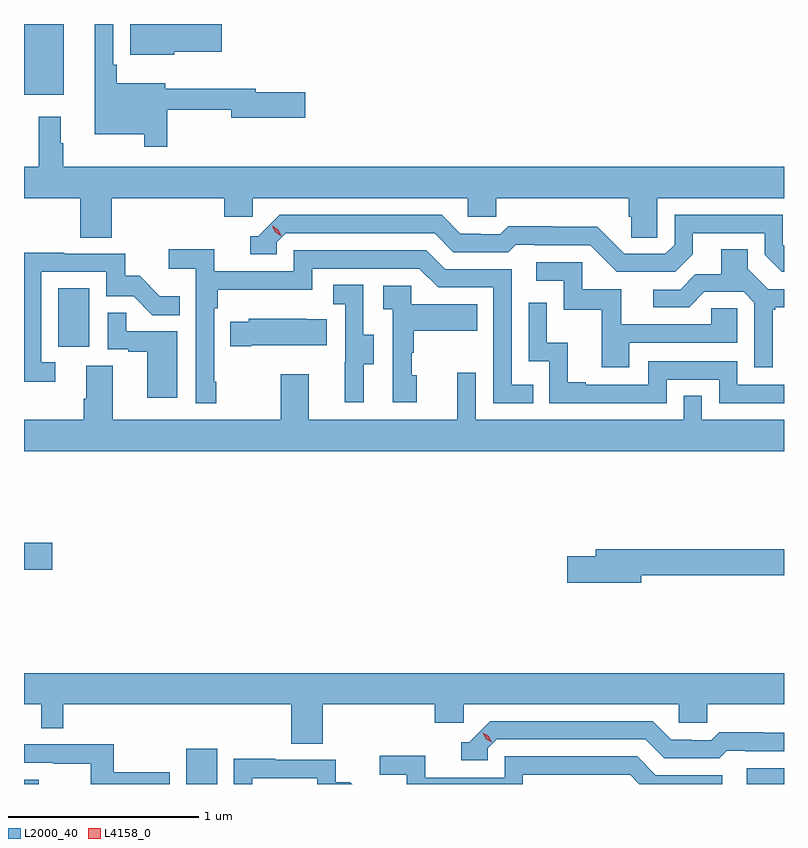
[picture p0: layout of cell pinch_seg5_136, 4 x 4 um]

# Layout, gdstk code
import gdstk
lib = gdstk.Library(unit=1e-6, precision=1e-09)
def R(c, l, rs):  # rectangles x0, y0, x1, y1
    for r in rs: c.add(gdstk.rectangle(r[:2], r[2:], *l))
def P(c, l, *ps):  # polygons
    for p in ps: c.add(gdstk.Polygon(p, *l))
L2000_40 = (2000, 40)
L4158_0 = (4158, 0)

pinch_seg5_136 = lib.new_cell('pinch_seg5_136')
R(pinch_seg5_136, L2000_40, [(1071.344,881.648,1071.422,881.67), (1072.199,881.648,1072.36,881.833), (1075.149,881.648,1075.344,881.73), (1071.344,882.776,1071.493,882.918), (1071.524,883.95,1071.688,884.257), (1071.344,885.275,1071.553,885.648)])
P(pinch_seg5_136, L2000_40, [(1072.134,885.503),(1072.385,885.503),(1072.385,885.648),(1071.902,885.648),(1071.902,885.485),(1072.134,885.485)],
  [(1072.099,885.198),(1072.436,885.198),(1072.436,885.155),(1072.825,885.155),(1072.825,885.29),(1072.564,885.29),(1072.564,885.308),(1072.087,885.308),(1072.087,885.337),(1071.833,885.337),(1071.833,885.433),(1071.813,885.433),(1071.813,885.648),(1071.716,885.648),(1071.716,885.068),(1071.978,885.068),(1071.978,885.003),(1072.099,885.003)],
  [(1071.55,885.02),(1071.538,885.02),(1071.538,885.16),(1071.421,885.16),(1071.421,884.896),(1071.344,884.896),(1071.344,884.732),(1071.641,884.732),(1071.641,884.524),(1071.806,884.524),(1071.806,884.732),(1072.397,884.732),(1072.397,884.634),(1072.548,884.634),(1072.548,884.732),(1073.679,884.732),(1073.679,884.634),(1073.829,884.634),(1073.829,884.732),(1074.527,884.732),(1074.527,884.634),(1074.541,884.634),(1074.541,884.524),(1074.678,884.524),(1074.678,884.732),(1075.344,884.732),(1075.344,884.896),(1071.55,884.896)],
  [(1074.865,884.437),(1074.865,884.547),(1075.242,884.547),(1075.242,884.433),(1075.332,884.343),(1075.344,884.343),(1075.344,884.481),(1075.338,884.487),(1075.338,884.643),(1074.768,884.643),(1074.768,884.487),(1074.72,884.439),(1074.504,884.439),(1074.362,884.581),(1074.126,884.581),(1074.126,884.584),(1073.893,884.584),(1073.851,884.541),(1073.748,884.541),(1073.748,884.544),(1073.641,884.544),(1073.542,884.643),(1072.689,884.643),(1072.578,884.532),(1072.535,884.532),(1072.535,884.436),(1072.674,884.436),(1072.674,884.499),(1072.722,884.547),(1073.505,884.547),(1073.604,884.448),(1073.893,884.448),(1073.932,884.487),(1074.031,884.487),(1074.031,884.484),(1074.324,884.484),(1074.465,884.343),(1074.771,884.343)],
  [(1075.285,884.145),(1075.297,884.145),(1075.297,884.156),(1075.344,884.156),(1075.344,884.253),(1075.26,884.253),(1075.153,884.36),(1075.153,884.462),(1075.013,884.462),(1075.013,884.33),(1074.878,884.33),(1074.798,884.25),(1074.657,884.25),(1074.657,884.157),(1074.844,884.157),(1074.925,884.238),(1075.131,884.238),(1075.188,884.181),(1075.188,883.842),(1075.285,883.842)],
  [(1072.357,883.765),(1072.344,883.765),(1072.344,884.153),(1072.364,884.153),(1072.364,884.249),(1072.86,884.249),(1072.86,884.361),(1073.424,884.361),(1073.523,884.262),(1073.814,884.262),(1073.814,883.653),(1074.023,883.653),(1074.023,883.749),(1073.91,883.749),(1073.91,884.358),(1073.56,884.358),(1073.461,884.457),(1072.764,884.457),(1072.764,884.346),(1072.346,884.346),(1072.346,884.462),(1072.107,884.462),(1072.107,884.36),(1072.248,884.36),(1072.248,883.653),(1072.357,883.653)],
  [(1071.508,883.869),(1071.435,883.869),(1071.435,884.343),(1071.777,884.343),(1071.777,884.214),(1071.921,884.214),(1072.019,884.116),(1072.163,884.116),(1072.163,884.215),(1072.059,884.215),(1071.952,884.322),(1071.876,884.322),(1071.876,884.439),(1071.557,884.439),(1071.557,884.444),(1071.344,884.444),(1071.344,883.764),(1071.508,883.764)],
  [(1074.529,883.971),(1075.098,883.971),(1075.098,884.151),(1074.961,884.151),(1074.961,884.067),(1074.487,884.067),(1074.487,884.253),(1074.282,884.253),(1074.282,884.394),(1074.039,884.394),(1074.039,884.298),(1074.186,884.298),(1074.186,884.145),(1074.385,884.145),(1074.385,883.842),(1074.529,883.842)],
  [(1073.131,883.858),(1073.185,883.858),(1073.185,884.013),(1073.13,884.013),(1073.13,884.276),(1072.971,884.276),(1072.971,884.173),(1073.034,884.173),(1073.034,883.869),(1073.033,883.869),(1073.033,883.656),(1073.131,883.656)],
  [(1073.41,883.8),(1073.385,883.8),(1073.385,883.919),(1073.395,883.919),(1073.395,884.033),(1073.729,884.033),(1073.729,884.173),(1073.382,884.173),(1073.382,884.271),(1073.235,884.271),(1073.235,884.147),(1073.286,884.147),(1073.286,883.656),(1073.41,883.656)],
  [(1074.726,883.776),(1075.002,883.776),(1075.002,883.653),(1075.344,883.653),(1075.344,883.749),(1075.098,883.749),(1075.098,883.872),(1074.63,883.872),(1074.63,883.749),(1074.301,883.749),(1074.301,883.762),(1074.206,883.762),(1074.206,883.97),(1074.096,883.97),(1074.096,884.182),(1074,884.182),(1074,883.872),(1074.108,883.872),(1074.108,883.653),(1074.726,883.653)],
  [(1072.15,884.031),(1071.881,884.031),(1071.881,884.129),(1071.786,884.129),(1071.786,883.935),(1071.893,883.935),(1071.893,883.923),(1071.992,883.923),(1071.992,883.68),(1072.15,883.68)],
  [(1072.54,883.958),(1072.937,883.958),(1072.937,884.095),(1072.829,884.095),(1072.829,884.098),(1072.527,884.098),(1072.527,884.08),(1072.429,884.08),(1072.429,883.951),(1072.54,883.951)],
  [(1075.344,883.564),(1074.912,883.564),(1074.912,883.691),(1074.816,883.691),(1074.816,883.564),(1073.721,883.564),(1073.721,883.813),(1073.624,883.813),(1073.624,883.564),(1072.843,883.564),(1072.843,883.804),(1072.696,883.804),(1072.696,883.564),(1071.811,883.564),(1071.811,883.85),(1071.671,883.85),(1071.671,883.676),(1071.659,883.676),(1071.659,883.564),(1071.344,883.564),(1071.344,883.4),(1075.344,883.4)],
  [(1074.592,882.748),(1075.344,882.748),(1075.344,882.884),(1074.353,882.884),(1074.353,882.848),(1074.204,882.848),(1074.204,882.706),(1074.592,882.706)],
  [(1072.916,882.068),(1073.507,882.068),(1073.507,881.97),(1073.658,881.97),(1073.658,882.068),(1074.789,882.068),(1074.789,881.97),(1074.939,881.97),(1074.939,882.068),(1075.344,882.068),(1075.344,882.232),(1071.344,882.232),(1071.344,882.068),(1071.435,882.068),(1071.435,881.941),(1071.551,881.941),(1071.551,882.068),(1072.751,882.068),(1072.751,881.86),(1072.916,881.86)],
  [(1073.784,881.835),(1073.832,881.883),(1074.615,881.883),(1074.714,881.784),(1075.003,881.784),(1075.042,881.823),(1075.141,881.823),(1075.141,881.82),(1075.344,881.82),(1075.344,881.917),(1075.236,881.917),(1075.236,881.92),(1075.003,881.92),(1074.961,881.877),(1074.858,881.877),(1074.858,881.88),(1074.751,881.88),(1074.652,881.979),(1073.799,881.979),(1073.688,881.868),(1073.645,881.868),(1073.645,881.772),(1073.784,881.772)],
  [(1072.11,881.71),(1071.817,881.71),(1071.817,881.856),(1071.344,881.856),(1071.344,881.76),(1071.499,881.76),(1071.499,881.755),(1071.696,881.755),(1071.696,881.648),(1072.11,881.648)],
  [(1073.97,881.697),(1074.534,881.697),(1074.583,881.648),(1075.02,881.648),(1075.02,881.694),(1074.67,881.694),(1074.571,881.793),(1073.874,881.793),(1073.874,881.682),(1073.456,881.682),(1073.456,881.798),(1073.217,881.798),(1073.217,881.696),(1073.358,881.696),(1073.358,881.648),(1073.97,881.648)],
  [(1072.545,881.679),(1072.887,881.679),(1072.887,881.648),(1073.072,881.648),(1073.062,881.658),(1072.986,881.658),(1072.986,881.775),(1072.667,881.775),(1072.667,881.78),(1072.449,881.78),(1072.449,881.648),(1072.545,881.648)])
P(pinch_seg5_136, L4158_0, [(1073.806,881.867),(1073.775,881.886),(1073.758,881.919),(1073.758,881.919),(1073.759,881.919),(1073.79,881.9),(1073.806,881.867),(1073.806,881.867)],
  [(1072.697,884.532),(1072.667,884.552),(1072.651,884.585),(1072.651,884.585),(1072.651,884.585),(1072.682,884.565),(1072.697,884.532),(1072.697,884.532)])

lib.write_gds('pinch_seg5_136.gds')
